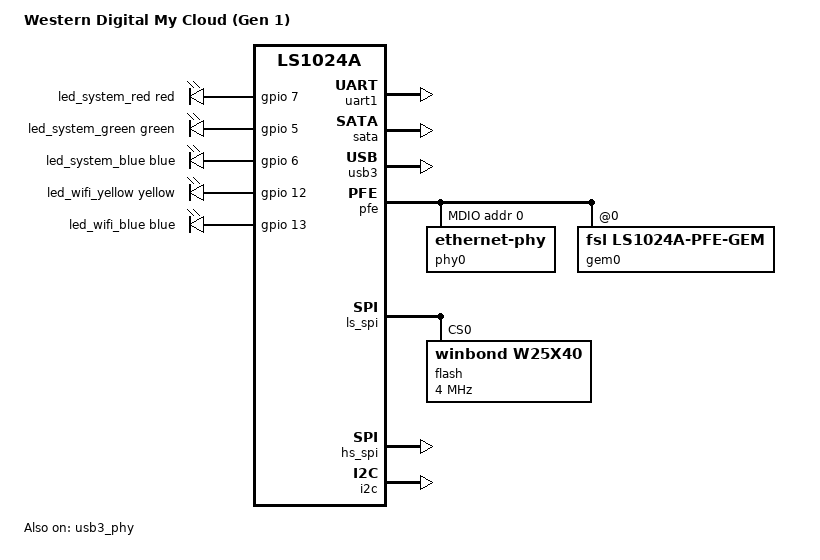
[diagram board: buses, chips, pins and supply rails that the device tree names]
// SPDX-License-Identifier: GPL-2.0
/dts-v1/;
#include <dt-bindings/clock/ls1024a.h>
#include <dt-bindings/gpio/gpio.h>
#include <dt-bindings/leds/common.h>
#include "ls1024a.dtsi"

/ {
	model = "Western Digital My Cloud (Gen 1)";
	compatible = "wdc,mycloud-gen1", "fsl,ls1024a";

	chosen {
		bootargs = "console=ttyS0,115200n8 earlyprintk";
		stdout-path = &uart1;
	};

	/*
	 * Both LEDs are plain GPIO output bits on the SoC's own GPIO
	 * controller (drivers/leds/leds-wd.c in the 3.2.26 vendor tree
	 * drives them by poking COMCERTO_GPIO_OUTPUT_REG directly, at the
	 * same bit positions gpio-ls1024a.c already exposes as GPIO lines
	 * 5-7 and 12-13 -- 1 = LED on, matching GPIO_ACTIVE_HIGH). No
	 * pinmux group is needed: the vendor board init code never
	 * switches these pins away from GPIO by default (only the
	 * currently-unported PWM breathing/pulse mode does, via
	 * COMCERTO_GPIO_PIN_SELECT_REG).
	 */
	system_leds: system-leds {
		compatible = "gpio-leds";

		led_system_red: led-0 {
			gpios = <&gpio 7 GPIO_ACTIVE_HIGH>;
			color = <LED_COLOR_ID_RED>;
			function = LED_FUNCTION_STATUS;
		};

		led_system_green: led-1 {
			gpios = <&gpio 5 GPIO_ACTIVE_HIGH>;
			color = <LED_COLOR_ID_GREEN>;
			function = LED_FUNCTION_STATUS;
		};

		led_system_blue: led-2 {
			gpios = <&gpio 6 GPIO_ACTIVE_HIGH>;
			color = <LED_COLOR_ID_BLUE>;
			function = LED_FUNCTION_STATUS;
		};
	};

	system_led: multi-led-0 {
		compatible = "leds-group-multicolor";
		color = <LED_COLOR_ID_RGB>;
		function = LED_FUNCTION_STATUS;
		leds = <&led_system_red>, <&led_system_green>, <&led_system_blue>;
	};

	/*
	 * wifi_led is two separately-colored LEDs (not R/G/B primaries),
	 * combined the same way the vendor driver did for its "white"
	 * state (both on at once) -- LED_COLOR_ID_MULTI rather than
	 * LED_COLOR_ID_RGB since these aren't RGB primaries.
	 */
	wifi_leds: wifi-leds {
		compatible = "gpio-leds";

		led_wifi_yellow: led-0 {
			gpios = <&gpio 12 GPIO_ACTIVE_HIGH>;
			color = <LED_COLOR_ID_YELLOW>;
			function = LED_FUNCTION_WLAN;
		};

		led_wifi_blue: led-1 {
			gpios = <&gpio 13 GPIO_ACTIVE_HIGH>;
			color = <LED_COLOR_ID_BLUE>;
			function = LED_FUNCTION_WLAN;
		};
	};

	wifi_led: multi-led-1 {
		compatible = "leds-group-multicolor";
		color = <LED_COLOR_ID_MULTI>;
		function = LED_FUNCTION_WLAN;
		leds = <&led_wifi_yellow>, <&led_wifi_blue>;
	};
};

&uart1 {
	status = "okay";
};

&sata {
	status = "okay";
};

&usb3 {
	status = "okay";
};

&usb3_phy {
	status = "okay";
};

&pfe {
	status = "okay";
	#address-cells = <1>;
	#size-cells = <0>;

	/*
	 * Stage P7 (see Documentation/arm/ls1024a-wdmycloud.rst): GEM0
	 * only, for now. PHY address 0 confirmed on real hardware -- the
	 * mdio bus's full address scan (pfe_eth.c, added specifically
	 * because this address was unconfirmed) found exactly one PHY
	 * responding, at address 0 (id 0362:5e6a), matching the only real
	 * data point in the GPL source drop (a hand-edited comment in the
	 * old board-c2kevm.c crossing out phy_id=4 for phy_id=0 and
	 * identifying a Broadcom PHY).
	 */
	mdio {
		#address-cells = <1>;
		#size-cells = <0>;

		phy0: ethernet-phy@0 {
			reg = <0>;
		};
	};

	gem0: ethernet@0 {
		compatible = "fsl,ls1024a-pfe-gem";
		reg = <0>;
		phy-mode = "rgmii-id";
		phy-handle = <&phy0>;
		/*
		 * Confirmed required on real hardware (see the "MDIO stops
		 * working ~1s after boot" writeup in
		 * Documentation/arm/ls1024a-wdmycloud.rst): a per-GEM 125MHz
		 * clock line, distinct from the pfe node's shared "gemtx".
		 * Without it, the kernel's own "disabling unused clocks" late
		 * boot step gates this line off shortly after boot (nothing
		 * had ever requested it), and every MDIO read past that point
		 * silently returns stale data instead of erroring.
		 */
		clocks = <&clkcore LS1024A_CLK_EXTPHY0>;
		clock-names = "extphy";
	};
};

&ls_spi {
	status = "okay";
	num-cs = <1>;
	pinctrl-names = "default";
	pinctrl-0 = <&pinctrl_spi &pinctrl_spi_ss0>;
	/delete-property/ interrupts;

	/*
	 * This controller's EEPROM-read (TMOD_EPROMREAD) hardware mode only
	 * ever clocks in the first data byte of a multi-byte read, then
	 * stops. With this set, dw_spi_exec_mem_op() falls back to plain
	 * full-duplex (TMOD_TR) and manually drives the read phase's clock
	 * with dummy Tx bytes instead. See
	 * Documentation/arm/ls1024a-wdmycloud.rst for the full derivation.
	 */
	snps,dwc-ssi-broken-eeprom-read;

	/*
	 * This block was never taken out of hardware reset otherwise.
	 * LS1024A_AXI_DUS_RST is the reset line for this controller's "dus"
	 * clock domain.
	 */
	resets = <&clkreset LS1024A_AXI_DUS_RST>;
	reset-names = "spi";

	/*
	 * Boot/env SPI-NOR flash (also used by barebox for its own
	 * environment storage). barebox's board file calls this
	 * "S25FL064A" (Spansion, 8 MiB), but that's a stale vendor device
	 * name -- read on real hardware, the actual JEDEC ID is
	 * 0xef 0x30 0x13, an exact match for "w25x40" (Winbond, 512 KiB).
	 * Mode (SPI_CPOL | SPI_CPHA) and frequency (4 MHz) copied from
	 * barebox's spi_board_info entry and confirmed correct.
	 */
	flash@0 {
		compatible = "winbond,w25x40", "jedec,spi-nor";
		reg = <0>;
		spi-max-frequency = <4000000>;
		spi-cpha;
		spi-cpol;
	};
};

&hs_spi {
	status = "okay";
};

&i2c {
	status = "okay";
};

/*
 * Not yet ported (Stage 2+):
 *  - PFE (Comcerto Packet Forwarding Engine): no mainline or Bonstra/
 *    linux-ls1024a driver exists for this block, so this fork ports one
 *    from scratch (see the &pfe node above and
 *    Documentation/arm/ls1024a-wdmycloud.rst's Stage P1-P10 log) --
 *    in progress, staged: GEM0's net_device/MDIO/PHY skeleton exists
 *    (Stage P7) but doesn't pass traffic yet (Stage P8), and GEM1/GEM2
 *    aren't wired up at all yet (Stage P9). Reference for all of this is
 *    the old 3.2.26 kernel's custom "pfe" module (see the imported
 *    kmodules/mspd-c2k/pfe sources and firmware blobs in
 *    symops/MCG1-3.2.26).
 *  - RTC (c2k-rtc): proprietary Mindspeed block, no driver in mainline
 *    or in this fork. Board has no RTC backup battery, so NTP-only
 *    timekeeping is the permanent behavior here, not a gap.
 *  - Board LED breathing/pulse effect: the vendor driver's "pulse"
 *    mode drives these LEDs through hardware PWM1-3 instead of plain
 *    GPIO (see system_leds/wifi_leds above for the plain on/off
 *    support, which is wired up). No LS1024A PWM driver exists yet in
 *    this fork, so only software-side blink (via LED triggers) is
 *    available for now, not the smooth hardware pulse. (This board
 *    has no fan, unlike some other SKUs sharing the vendor image.)
 *  - PCIe (pcie0/pcie1, inherited disabled from ls1024a.dtsi): PCIe0
 *    reported "Link Up Failed" in the old kernel's boot log -- nothing
 *    is physically connected on this board.
 */
